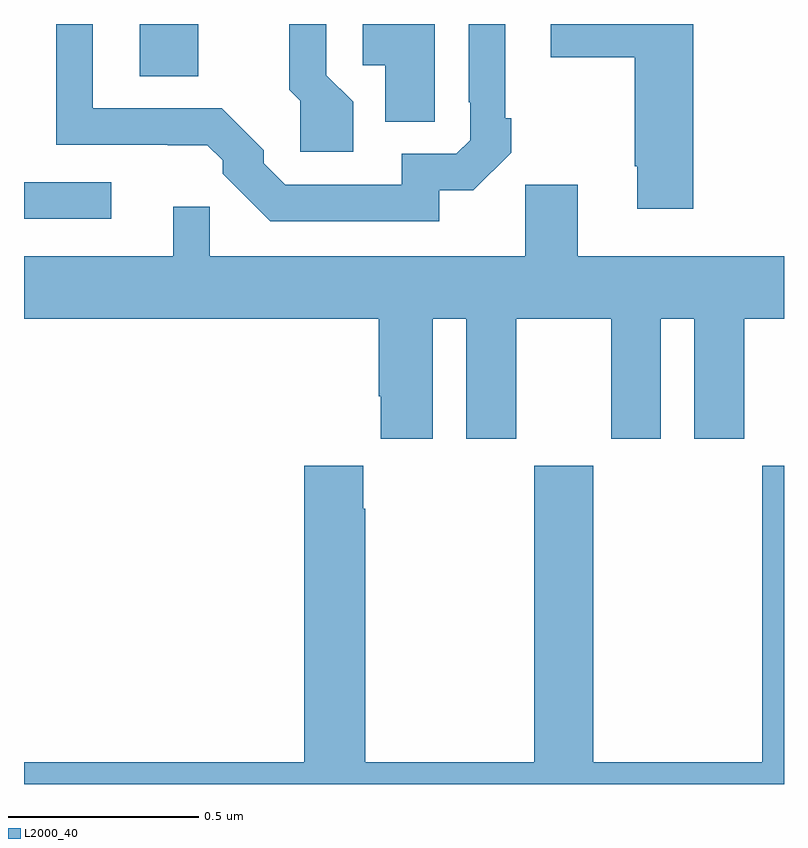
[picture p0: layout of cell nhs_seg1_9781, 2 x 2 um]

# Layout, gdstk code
import gdstk
lib = gdstk.Library(unit=1e-6, precision=1e-09)
def R(c, l, rs):  # rectangles x0, y0, x1, y1
    for r in rs: c.add(gdstk.rectangle(r[:2], r[2:], *l))
def P(c, l, *ps):  # polygons
    for p in ps: c.add(gdstk.Polygon(p, *l))
L2000_40 = (2000, 40)

nhs_seg1_9781 = lib.new_cell('nhs_seg1_9781')
R(nhs_seg1_9781, L2000_40, [(233,526.686,233.23,526.782)])
P(nhs_seg1_9781, L2000_40, [(234.093,526.761),(234.182,526.761),(234.282,526.86),(234.282,526.951),(234.267,526.951),(234.267,527.199),(234.171,527.199),(234.171,526.993),(234.174,526.993),(234.174,526.893),(234.138,526.857),(233.994,526.857),(233.994,526.776),(233.688,526.776),(233.631,526.833),(233.631,526.867),(233.521,526.977),(233.181,526.977),(233.181,527.199),(233.085,527.199),(233.085,526.881),(233.378,526.881),(233.378,526.88),(233.482,526.88),(233.523,526.84),(233.523,526.805),(233.648,526.68),(234.093,526.68)],
  [(234.081,527.199),(233.892,527.199),(233.892,527.09),(233.951,527.09),(233.951,526.942),(234.081,526.942)],
  [(233.458,527.199),(233.305,527.199),(233.304,527.198),(233.304,527.062),(233.458,527.062)],
  [(233.866,526.994),(233.796,527.064),(233.796,527.199),(233.698,527.199),(233.698,527.026),(233.727,526.997),(233.727,526.863),(233.866,526.863)],
  [(234.761,527.199),(234.386,527.199),(234.386,527.111),(234.607,527.111),(234.607,526.825),(234.614,526.825),(234.614,526.713),(234.761,526.713)],
  [(234.076,526.424),(234.164,526.424),(234.164,526.107),(234.295,526.107),(234.295,526.424),(234.545,526.424),(234.545,526.107),(234.676,526.107),(234.676,526.424),(234.764,526.424),(234.764,526.107),(234.895,526.107),(234.895,526.424),(235,526.424),(235,526.588),(234.457,526.588),(234.457,526.776),(234.319,526.776),(234.319,526.588),(233.489,526.588),(233.489,526.718),(233.393,526.718),(233.393,526.588),(233,526.588),(233,526.424),(233.933,526.424),(233.933,526.219),(233.939,526.219),(233.939,526.107),(234.076,526.107)],
  [(235,526.036),(234.943,526.036),(234.943,525.256),(234.498,525.256),(234.498,526.036),(234.343,526.036),(234.343,525.256),(233.898,525.256),(233.898,525.923),(233.893,525.923),(233.893,526.036),(233.738,526.036),(233.738,525.256),(233,525.256),(233,525.199),(235,525.199)])

lib.write_gds('nhs_seg1_9781.gds')
